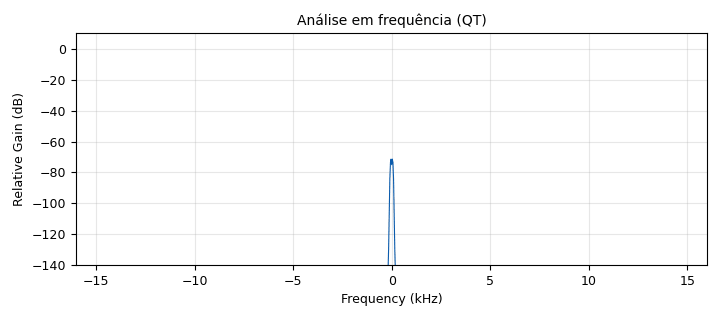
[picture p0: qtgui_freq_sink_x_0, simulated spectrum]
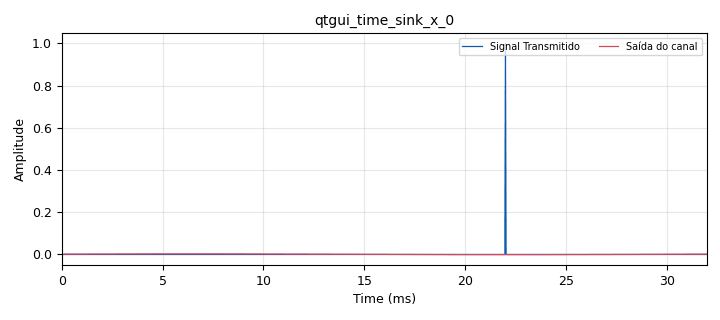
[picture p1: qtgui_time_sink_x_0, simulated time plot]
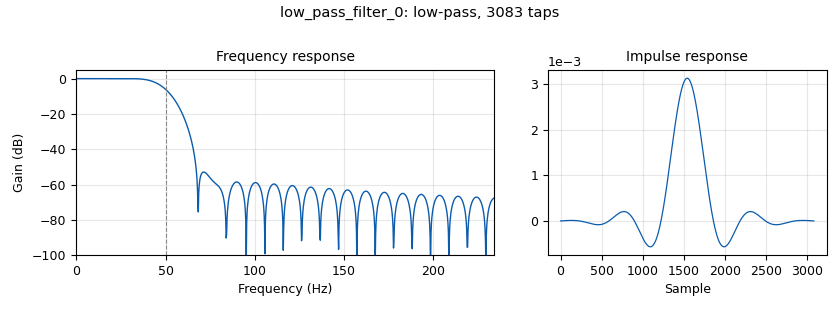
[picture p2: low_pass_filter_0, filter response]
options:
  parameters:
    author: Daniel Costa Araújo
    generate_options: qt_gui
    id: pulse_dist
    output_language: python
    title: Canal com distorção
  states: {}

blocks:
- name: freq_corte
  id: variable_qtgui_range
  parameters:
    label: FrequIência de corte
    start: '50'
    step: '10'
    stop: 1e3
    value: '50'
  states: {}
- name: length
  id: variable
  parameters:
    value: '1024'
  states: {}
- name: periodo
  id: variable
  parameters:
    value: (1/samp_rate)*vec_len
  states: {}
- name: samp_rate
  id: variable
  parameters:
    value: '32000'
  states: {}
- name: tempo_simbolo
  id: variable
  parameters:
    value: (vec_len/length)*(1/samp_rate)
  states: {}
- name: vec_len
  id: variable
  parameters:
    value: int(1024)
  states: {}
- name: blocks_integrate_xx_0
  id: blocks_integrate_xx
  parameters:
    decim: vec_len
    type: float
  states: {}
- name: blocks_multiply_const_vxx_0
  id: blocks_multiply_const_vxx
  parameters:
    const: (1/periodo)
    type: float
  states: {}
- name: blocks_multiply_const_vxx_0_0
  id: blocks_multiply_const_vxx
  parameters:
    const: (1/samp_rate)
    type: float
  states: {}
- name: blocks_multiply_xx_0
  id: blocks_multiply_xx
  parameters:
    type: float
  states: {}
- name: blocks_nlog10_ff_0
  id: blocks_nlog10_ff
  parameters:
    k: '30'
    n: '10'
  states: {}
- name: blocks_throttle_0
  id: blocks_throttle
  parameters:
    samples_per_second: samp_rate
    type: float
  states: {}
- name: blocks_vector_source_x_0
  id: blocks_vector_source_x
  parameters:
    repeat: 'True'
    tags: ''
    type: float
    vector: '[1]*int(vec_len/length) + [0]*(vec_len - int(vec_len/length))'
  states: {}
- name: low_pass_filter_0
  id: low_pass_filter
  parameters:
    cutoff_freq: freq_corte
    decim: '1'
    gain: '1'
    samp_rate: samp_rate
    type: fir_filter_fff
    width: '25'
    win: window.WIN_HAMMING
  states: {}
- name: qtgui_freq_sink_x_0
  id: qtgui_freq_sink_x
  parameters:
    bw: samp_rate
    fc: '0'
    fftsize: '1024'
    grid: 'True'
    name: Análise em frequência (QT)
    type: float
  states: {}
- name: qtgui_number_sink_0
  id: qtgui_number_sink
  parameters:
    autoscale: 'True'
    graph_type: qtgui.NUM_GRAPH_HORIZ
    name: Potencia (dBm)
    type: float
  states: {}
- name: qtgui_number_sink_0_0
  id: qtgui_number_sink
  parameters:
    autoscale: 'True'
    graph_type: qtgui.NUM_GRAPH_HORIZ
    name: Energia
    type: float
  states: {}
- name: qtgui_time_sink_x_0
  id: qtgui_time_sink_x
  parameters:
    autoscale: 'True'
    label1: Signal Transmitido
    label2: Saída do canal
    nconnections: '2'
    size: vec_len
    srate: samp_rate
    type: float
  states: {}

connections:
- [blocks_integrate_xx_0, '0', blocks_multiply_const_vxx_0_0, '0']
- [blocks_multiply_const_vxx_0, '0', blocks_nlog10_ff_0, '0']
- [blocks_multiply_const_vxx_0_0, '0', blocks_multiply_const_vxx_0, '0']
- [blocks_multiply_const_vxx_0_0, '0', qtgui_number_sink_0_0, '0']
- [blocks_multiply_xx_0, '0', blocks_integrate_xx_0, '0']
- [blocks_nlog10_ff_0, '0', qtgui_number_sink_0, '0']
- [blocks_throttle_0, '0', blocks_multiply_xx_0, '0']
- [blocks_throttle_0, '0', blocks_multiply_xx_0, '1']
- [blocks_throttle_0, '0', low_pass_filter_0, '0']
- [blocks_throttle_0, '0', qtgui_time_sink_x_0, '0']
- [blocks_vector_source_x_0, '0', blocks_throttle_0, '0']
- [low_pass_filter_0, '0', qtgui_freq_sink_x_0, '0']
- [low_pass_filter_0, '0', qtgui_time_sink_x_0, '1']

metadata:
  file_format: 1
